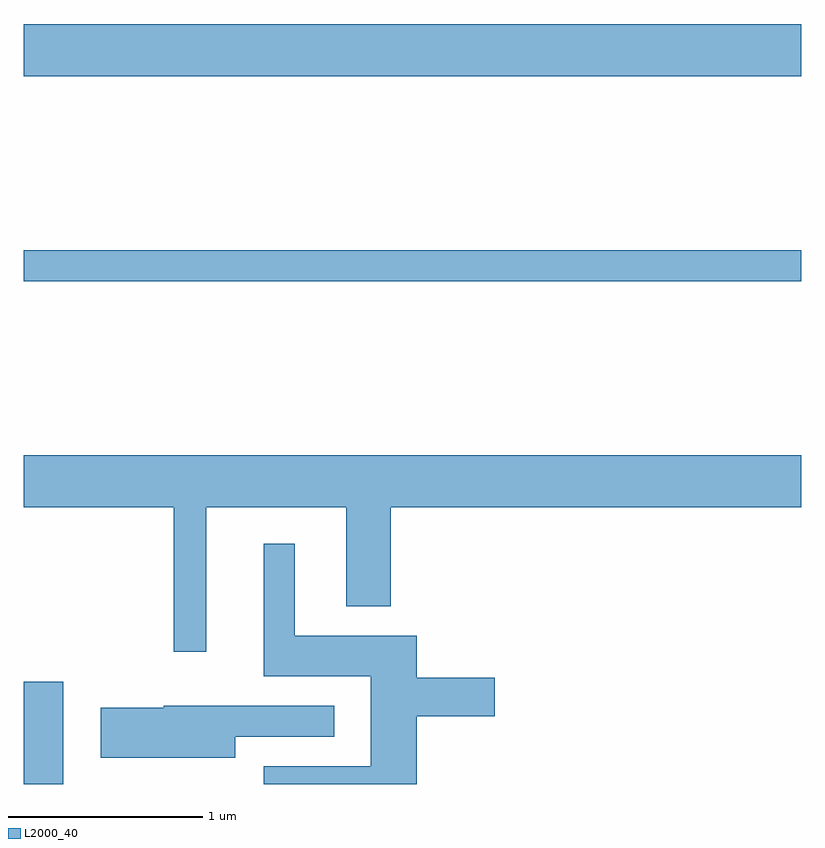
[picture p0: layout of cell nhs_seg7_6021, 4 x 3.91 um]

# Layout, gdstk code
import gdstk
lib = gdstk.Library(unit=1e-6, precision=1e-09)
def R(c, l, rs):  # rectangles x0, y0, x1, y1
    for r in rs: c.add(gdstk.rectangle(r[:2], r[2:], *l))
def P(c, l, *ps):  # polygons
    for p in ps: c.add(gdstk.Polygon(p, *l))
L2000_40 = (2000, 40)

nhs_seg7_6021 = lib.new_cell('nhs_seg7_6021')
R(nhs_seg7_6021, L2000_40, [(369.611,1686.252,369.814,1686.779), (369.611,1688.841,373.611,1688.999), (369.611,1689.896,373.611,1690.164)])
P(nhs_seg7_6021, L2000_40, [(370.549,1687.676),(371.271,1687.676),(371.271,1687.166),(371.499,1687.166),(371.499,1687.676),(373.611,1687.676),(373.611,1687.944),(369.611,1687.944),(369.611,1687.676),(370.381,1687.676),(370.381,1686.933),(370.549,1686.933)],
  [(371.634,1686.601),(372.034,1686.601),(372.034,1686.799),(371.634,1686.799),(371.634,1687.014),(371.004,1687.014),(371.004,1687.488),(370.846,1687.488),(370.846,1686.806),(371.396,1686.806),(371.396,1686.344),(370.846,1686.344),(370.846,1686.252),(371.634,1686.252)],
  [(370.699,1686.496),(371.208,1686.496),(371.208,1686.654),(370.33,1686.654),(370.33,1686.644),(370.006,1686.644),(370.006,1686.386),(370.699,1686.386)])

lib.write_gds('nhs_seg7_6021.gds')
